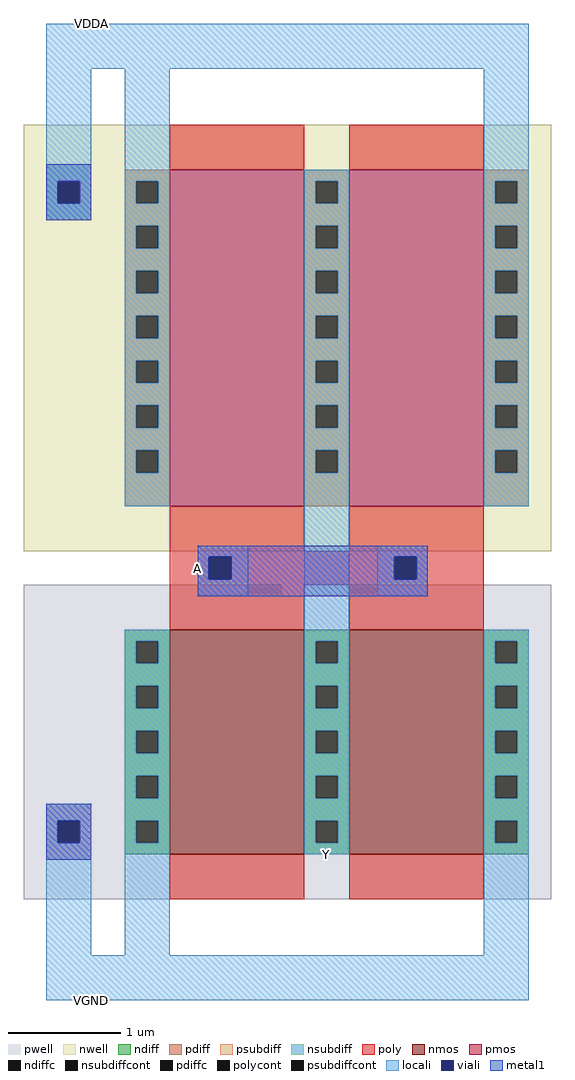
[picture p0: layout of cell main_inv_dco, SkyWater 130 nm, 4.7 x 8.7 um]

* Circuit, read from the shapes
.subckt main_inv_dco A Y VDDA VGND
XM1 Y A VGND VGND sky130_fd_pr__nfet_01v8 w=2 l=1.2 m=2
XM2 Y A VDDA VDDA sky130_fd_pr__pfet_01v8 w=3 l=1.2 m=2
.ends

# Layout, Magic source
magic
tech sky130A
<< nwell >>
rect -130 -40 340 340
<< pwell >>
rect -130 -80 100 -70
rect 120 -80 340 -70
rect -130 -350 340 -80
<< nmos >>
rect 0 -310 120 -110
rect 160 -310 280 -110
<< pmos >>
rect 0 0 120 300
rect 160 0 280 300
<< ndiff >>
rect -40 -120 0 -110
rect -40 -140 -30 -120
rect -10 -140 0 -120
rect -40 -160 0 -140
rect -40 -180 -30 -160
rect -10 -180 0 -160
rect -40 -200 0 -180
rect -40 -220 -30 -200
rect -10 -220 0 -200
rect -40 -240 0 -220
rect -40 -260 -30 -240
rect -10 -260 0 -240
rect -40 -280 0 -260
rect -40 -300 -30 -280
rect -10 -300 0 -280
rect -40 -310 0 -300
rect 120 -120 160 -110
rect 120 -140 130 -120
rect 150 -140 160 -120
rect 120 -160 160 -140
rect 120 -180 130 -160
rect 150 -180 160 -160
rect 120 -200 160 -180
rect 120 -220 130 -200
rect 150 -220 160 -200
rect 120 -240 160 -220
rect 120 -260 130 -240
rect 150 -260 160 -240
rect 120 -280 160 -260
rect 120 -300 130 -280
rect 150 -300 160 -280
rect 120 -310 160 -300
rect 280 -120 320 -110
rect 280 -140 290 -120
rect 310 -140 320 -120
rect 280 -160 320 -140
rect 280 -180 290 -160
rect 310 -180 320 -160
rect 280 -200 320 -180
rect 280 -220 290 -200
rect 310 -220 320 -200
rect 280 -240 320 -220
rect 280 -260 290 -240
rect 310 -260 320 -240
rect 280 -280 320 -260
rect 280 -300 290 -280
rect 310 -300 320 -280
rect 280 -310 320 -300
<< pdiff >>
rect -40 290 0 300
rect -40 270 -30 290
rect -10 270 0 290
rect -40 250 0 270
rect -40 230 -30 250
rect -10 230 0 250
rect -40 210 0 230
rect -40 190 -30 210
rect -10 190 0 210
rect -40 170 0 190
rect -40 150 -30 170
rect -10 150 0 170
rect -40 130 0 150
rect -40 110 -30 130
rect -10 110 0 130
rect -40 90 0 110
rect -40 70 -30 90
rect -10 70 0 90
rect -40 50 0 70
rect -40 30 -30 50
rect -10 30 0 50
rect -40 0 0 30
rect 120 290 160 300
rect 120 270 130 290
rect 150 270 160 290
rect 120 250 160 270
rect 120 230 130 250
rect 150 230 160 250
rect 120 210 160 230
rect 120 190 130 210
rect 150 190 160 210
rect 120 170 160 190
rect 120 150 130 170
rect 150 150 160 170
rect 120 130 160 150
rect 120 110 130 130
rect 150 110 160 130
rect 120 90 160 110
rect 120 70 130 90
rect 150 70 160 90
rect 120 50 160 70
rect 120 30 130 50
rect 150 30 160 50
rect 120 0 160 30
rect 280 290 320 300
rect 280 270 290 290
rect 310 270 320 290
rect 280 250 320 270
rect 280 230 290 250
rect 310 230 320 250
rect 280 210 320 230
rect 280 190 290 210
rect 310 190 320 210
rect 280 170 320 190
rect 280 150 290 170
rect 310 150 320 170
rect 280 130 320 150
rect 280 110 290 130
rect 310 110 320 130
rect 280 90 320 110
rect 280 70 290 90
rect 310 70 320 90
rect 280 50 320 70
rect 280 30 290 50
rect 310 30 320 50
rect 280 0 320 30
<< ndiffc >>
rect -30 -140 -10 -120
rect -30 -180 -10 -160
rect -30 -220 -10 -200
rect -30 -260 -10 -240
rect -30 -300 -10 -280
rect 130 -140 150 -120
rect 130 -180 150 -160
rect 130 -220 150 -200
rect 130 -260 150 -240
rect 130 -300 150 -280
rect 290 -140 310 -120
rect 290 -180 310 -160
rect 290 -220 310 -200
rect 290 -260 310 -240
rect 290 -300 310 -280
<< pdiffc >>
rect -30 270 -10 290
rect -30 230 -10 250
rect -30 190 -10 210
rect -30 150 -10 170
rect -30 110 -10 130
rect -30 70 -10 90
rect -30 30 -10 50
rect 130 270 150 290
rect 130 230 150 250
rect 130 190 150 210
rect 130 150 150 170
rect 130 110 150 130
rect 130 70 150 90
rect 130 30 150 50
rect 290 270 310 290
rect 290 230 310 250
rect 290 190 310 210
rect 290 150 310 170
rect 290 110 310 130
rect 290 70 310 90
rect 290 30 310 50
<< psubdiff >>
rect -110 -280 -70 -265
rect -110 -300 -100 -280
rect -80 -300 -70 -280
rect -110 -315 -70 -300
<< nsubdiff >>
rect -110 290 -70 305
rect -110 270 -100 290
rect -80 270 -70 290
rect -110 255 -70 270
<< psubdiffcont >>
rect -100 -300 -80 -280
<< nsubdiffcont >>
rect -100 270 -80 290
<< poly >>
rect 0 300 120 340
rect 160 300 280 340
rect 0 -40 120 0
rect 160 -40 280 0
rect 0 -45 280 -40
rect 0 -65 35 -45
rect 55 -65 200 -45
rect 220 -65 280 -45
rect 0 -70 280 -65
rect 0 -110 120 -70
rect 160 -110 280 -70
rect 0 -350 120 -310
rect 160 -350 280 -310
<< polycont >>
rect 35 -65 55 -45
rect 200 -65 220 -45
<< locali >>
rect -110 390 320 430
rect -110 290 -70 390
rect -110 270 -100 290
rect -80 270 -70 290
rect -110 255 -70 270
rect -40 290 0 390
rect -40 270 -30 290
rect -10 270 0 290
rect -40 250 0 270
rect -40 230 -30 250
rect -10 230 0 250
rect -40 210 0 230
rect -40 190 -30 210
rect -10 190 0 210
rect -40 170 0 190
rect -40 150 -30 170
rect -10 150 0 170
rect -40 130 0 150
rect -40 110 -30 130
rect -10 110 0 130
rect -40 90 0 110
rect -40 70 -30 90
rect -10 70 0 90
rect -40 50 0 70
rect -40 30 -30 50
rect -10 30 0 50
rect -40 0 0 30
rect 120 290 160 300
rect 120 270 130 290
rect 150 270 160 290
rect 120 250 160 270
rect 120 230 130 250
rect 150 230 160 250
rect 120 210 160 230
rect 120 190 130 210
rect 150 190 160 210
rect 120 170 160 190
rect 120 150 130 170
rect 150 150 160 170
rect 120 130 160 150
rect 120 110 130 130
rect 150 110 160 130
rect 120 90 160 110
rect 120 70 130 90
rect 150 70 160 90
rect 120 50 160 70
rect 120 30 130 50
rect 150 30 160 50
rect 25 -45 70 -35
rect 25 -65 35 -45
rect 55 -65 70 -45
rect 25 -80 70 -65
rect -40 -120 0 -110
rect -40 -140 -30 -120
rect -10 -140 0 -120
rect -40 -160 0 -140
rect -40 -180 -30 -160
rect -10 -180 0 -160
rect -40 -200 0 -180
rect -40 -220 -30 -200
rect -10 -220 0 -200
rect -40 -240 0 -220
rect -40 -260 -30 -240
rect -10 -260 0 -240
rect -110 -280 -70 -265
rect -110 -300 -100 -280
rect -80 -300 -70 -280
rect -110 -400 -70 -300
rect -40 -280 0 -260
rect -40 -300 -30 -280
rect -10 -300 0 -280
rect -40 -400 0 -300
rect 120 -120 160 30
rect 280 290 320 390
rect 280 270 290 290
rect 310 270 320 290
rect 280 250 320 270
rect 280 230 290 250
rect 310 230 320 250
rect 280 210 320 230
rect 280 190 290 210
rect 310 190 320 210
rect 280 170 320 190
rect 280 150 290 170
rect 310 150 320 170
rect 280 130 320 150
rect 280 110 290 130
rect 310 110 320 130
rect 280 90 320 110
rect 280 70 290 90
rect 310 70 320 90
rect 280 50 320 70
rect 280 30 290 50
rect 310 30 320 50
rect 280 0 320 30
rect 185 -45 230 -35
rect 185 -65 200 -45
rect 220 -65 230 -45
rect 185 -80 230 -65
rect 120 -140 130 -120
rect 150 -140 160 -120
rect 120 -160 160 -140
rect 120 -180 130 -160
rect 150 -180 160 -160
rect 120 -200 160 -180
rect 120 -220 130 -200
rect 150 -220 160 -200
rect 120 -240 160 -220
rect 120 -260 130 -240
rect 150 -260 160 -240
rect 120 -280 160 -260
rect 120 -300 130 -280
rect 150 -300 160 -280
rect 120 -310 160 -300
rect 280 -120 320 -110
rect 280 -140 290 -120
rect 310 -140 320 -120
rect 280 -160 320 -140
rect 280 -180 290 -160
rect 310 -180 320 -160
rect 280 -200 320 -180
rect 280 -220 290 -200
rect 310 -220 320 -200
rect 280 -240 320 -220
rect 280 -260 290 -240
rect 310 -260 320 -240
rect 280 -280 320 -260
rect 280 -300 290 -280
rect 310 -300 320 -280
rect 280 -400 320 -300
rect -110 -440 320 -400
<< viali >>
rect -100 270 -80 290
rect 35 -65 55 -45
rect -100 -300 -80 -280
rect 200 -65 220 -45
<< metal1 >>
rect -110 290 -70 305
rect -110 270 -100 290
rect -80 270 -70 290
rect -110 255 -70 270
rect 25 -45 230 -35
rect 25 -65 35 -45
rect 55 -65 200 -45
rect 220 -65 230 -45
rect 25 -80 230 -65
rect -110 -280 -70 -265
rect -110 -300 -100 -280
rect -80 -300 -70 -280
rect -110 -315 -70 -300
<< labels >>
rlabel metal1 25 -55 25 -55 7 A
port 1 w
rlabel locali -70 430 -70 430 1 VDDA
port 3 n
rlabel locali -70 -440 -70 -440 5 VGND
port 4 s
rlabel locali 140 -310 140 -310 5 Y
port 2 s
<< end >>
